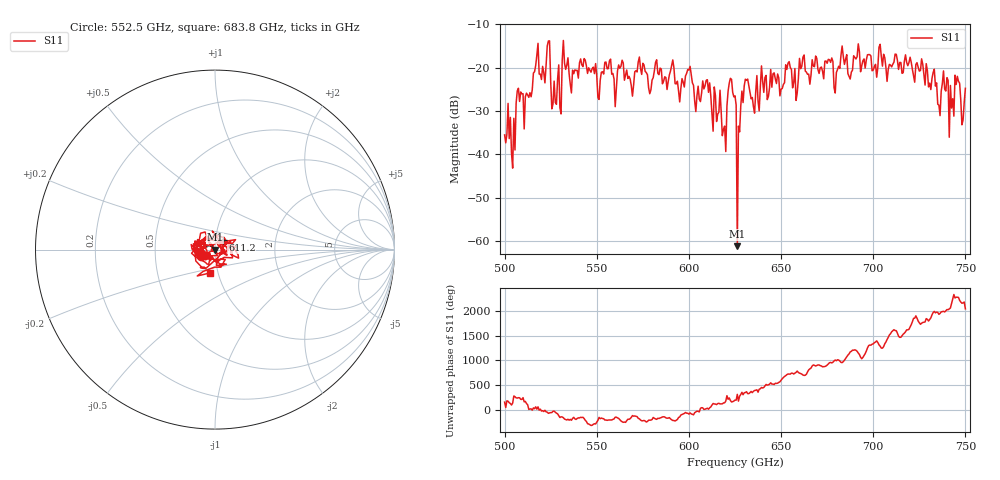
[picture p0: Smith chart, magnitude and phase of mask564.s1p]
!Created with skrf (http://scikit-rf.org).
# GHz S MA R 50.0
!freq magS11 angS11
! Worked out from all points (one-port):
!   401 points, 500 GHz to 750 GHz, reference 50 ohm
!   lowest |S11| = -61.1 dB at 626.2 GHz (marker M1), VSWR 1.00, Z = 50.1 - j0.0568 ohm
!   |S11| at or under -10 dB: start of sweep to end of sweep
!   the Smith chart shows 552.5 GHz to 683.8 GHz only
!   S11 on the Smith chart (normalised r, x): 552.5 GHz: 0.85, -0.06; 611.2 GHz: 1.08, +0.11; 683.8 GHz: 0.91, -0.24
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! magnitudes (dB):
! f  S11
! 500 GHz  -35.5
! 504.4 GHz  -43.2
! 507.5 GHz  -24.8
! 511.9 GHz  -25.9
! 516.9 GHz  -19.5
! 523.8 GHz  -13.9
! 526.9 GHz  -23.1
! 531.2 GHz  -18.4
! 552.5 GHz  -21.1
! 562.5 GHz  -20.2
! 593.8 GHz  -23.2
! 611.2 GHz  -23.5
! 618.8 GHz  -34.3
! 623.1 GHz  -22.7
! 624.4 GHz  -26.8
! 625 GHz  -26.5
! 626.2 GHz  -61.1
! 631.2 GHz  -23.0
! 634.4 GHz  -26.9
! 656.2 GHz  -24.7
! 683.8 GHz  -17.4
! 687.5 GHz  -22.7
! 718.8 GHz  -19.6
! 735.6 GHz  -28.7
! 739.4 GHz  -25.4
! 742.5 GHz  -29.3
! 745.6 GHz  -22.0
! 750 GHz  -24.8
